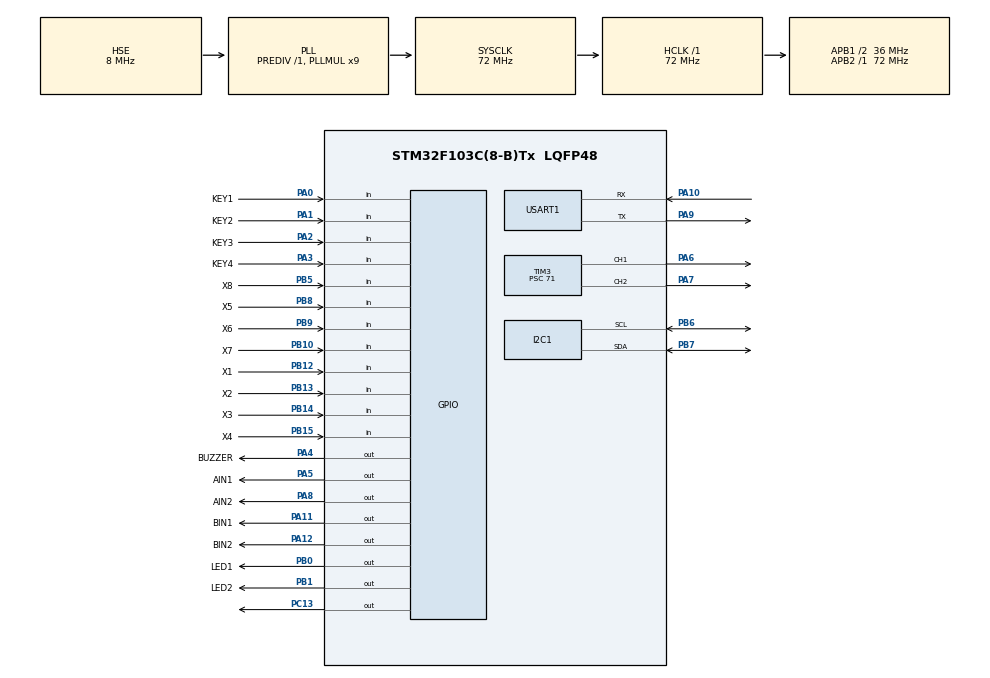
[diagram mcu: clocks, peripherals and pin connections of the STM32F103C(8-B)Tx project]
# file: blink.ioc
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Mcu.Family=STM32F1
Mcu.Name=STM32F103C(8-B)Tx
Mcu.Package=LQFP48
NVIC.PriorityGroup=NVIC_PRIORITYGROUP_4
PA0-WKUP.GPIO_Label=KEY1
PA0-WKUP.GPIO_PuPd=GPIO_PULLUP
PA0-WKUP.Signal=GPIO_Input
PA1.GPIO_Label=KEY2
PA1.GPIO_PuPd=GPIO_PULLUP
PA1.Signal=GPIO_Input
PA10.Mode=Asynchronous
PA10.Signal=USART1_RX
PA11.GPIO_Label=BIN1
PA11.GPIO_ModeDefaultOutputPP=GPIO_MODE_OUTPUT_PP
PA11.GPIO_Speed=GPIO_SPEED_FREQ_LOW
PA11.PinState=GPIO_PIN_RESET
PA11.Signal=GPIO_Output
PA12.GPIO_Label=BIN2
PA12.GPIO_ModeDefaultOutputPP=GPIO_MODE_OUTPUT_PP
PA12.GPIO_Speed=GPIO_SPEED_FREQ_LOW
PA12.PinState=GPIO_PIN_RESET
PA12.Signal=GPIO_Output
PA13.Mode=Serial_Wire
PA13.Signal=SYS_JTMS-SWDIO
PA14.Mode=Serial_Wire
PA14.Signal=SYS_JTCK-SWCLK
PA2.GPIO_Label=KEY3
PA2.GPIO_PuPd=GPIO_PULLUP
PA2.Signal=GPIO_Input
PA3.GPIO_Label=KEY4
PA3.GPIO_PuPd=GPIO_PULLUP
PA3.Signal=GPIO_Input
PA4.GPIO_Label=BUZZER
PA4.GPIO_ModeDefaultOutputPP=GPIO_MODE_OUTPUT_PP
PA4.GPIO_Speed=GPIO_SPEED_FREQ_LOW
PA4.PinState=GPIO_PIN_RESET
PA4.Signal=GPIO_Output
PA5.GPIO_Label=AIN1
PA5.GPIO_ModeDefaultOutputPP=GPIO_MODE_OUTPUT_PP
PA5.GPIO_Speed=GPIO_SPEED_FREQ_LOW
PA5.PinState=GPIO_PIN_RESET
PA5.Signal=GPIO_Output
PA6.Signal=S_TIM3_CH1
PA7.Signal=S_TIM3_CH2
PA8.GPIO_Label=AIN2
PA8.GPIO_ModeDefaultOutputPP=GPIO_MODE_OUTPUT_PP
PA8.GPIO_Speed=GPIO_SPEED_FREQ_LOW
PA8.PinState=GPIO_PIN_RESET
PA8.Signal=GPIO_Output
PA9.Mode=Asynchronous
PA9.Signal=USART1_TX
PB0.GPIO_Label=LED1
PB0.GPIO_ModeDefaultOutputPP=GPIO_MODE_OUTPUT_PP
PB0.GPIO_Speed=GPIO_SPEED_FREQ_LOW
PB0.PinState=GPIO_PIN_RESET
PB0.Signal=GPIO_Output
PB1.GPIO_Label=LED2
PB1.GPIO_ModeDefaultOutputPP=GPIO_MODE_OUTPUT_PP
PB1.GPIO_Speed=GPIO_SPEED_FREQ_LOW
PB1.PinState=GPIO_PIN_RESET
PB1.Signal=GPIO_Output
PB10.GPIO_Label=X7
PB10.Signal=GPIO_Input
PB12.GPIO_Label=X1
PB12.Signal=GPIO_Input
PB13.GPIO_Label=X2
PB13.Signal=GPIO_Input
PB14.GPIO_Label=X3
PB14.Signal=GPIO_Input
PB15.GPIO_Label=X4
PB15.Signal=GPIO_Input
PB5.GPIO_Label=X8
PB5.Signal=GPIO_Input
PB6.Mode=I2C
PB6.Signal=I2C1_SCL
PB7.Mode=I2C
PB7.Signal=I2C1_SDA
PB8.GPIO_Label=X5
PB8.Signal=GPIO_Input
PB9.GPIO_Label=X6
PB9.Signal=GPIO_Input
PC13-TAMPER-RTC.GPIO_ModeDefaultOutputPP=GPIO_MODE_OUTPUT_OD
PC13-TAMPER-RTC.GPIO_PuPd=GPIO_NOPULL
PC13-TAMPER-RTC.GPIO_Speed=GPIO_SPEED_FREQ_LOW
PC13-TAMPER-RTC.PinState=GPIO_PIN_SET
PC13-TAMPER-RTC.Signal=GPIO_Output
PD0-OSC_IN.Mode=HSE-External-Oscillator
PD0-OSC_IN.Signal=RCC_OSC_IN
PD1-OSC_OUT.Mode=HSE-External-Oscillator
PD1-OSC_OUT.Signal=RCC_OSC_OUT
ProjectManager.HeapSize=0x200
ProjectManager.StackSize=0x400
ProjectManager.TargetToolchain=MDK-ARM V5.32
RCC.AHBFreq_Value=72000000
RCC.APB1CLKDivider=RCC_HCLK_DIV2
RCC.APB1Freq_Value=36000000
RCC.APB1TimFreq_Value=72000000
RCC.APB2CLKDivider=RCC_HCLK_DIV1
RCC.APB2Freq_Value=72000000
RCC.APB2TimFreq_Value=72000000
RCC.HCLKFreq_Value=72000000
RCC.HSEDivPLL=RCC_HSE_PREDIV_DIV1
RCC.HSE_VALUE=8000000
RCC.PLLMUL=RCC_PLL_MUL9
RCC.PLLSourceVirtual=RCC_PLLSOURCE_HSE
RCC.SYSCLKFreq_VALUE=72000000
RCC.SYSCLKSource=RCC_SYSCLKSOURCE_PLLCLK
RCC.USBFreq_Value=72000000
SH.S_TIM3_CH1.0=TIM3_CH1,PWM Generation1 CH1
SH.S_TIM3_CH2.0=TIM3_CH2,PWM Generation2 CH2
TIM3.Channel-PWM\ Generation1\ CH1=TIM_CHANNEL_1
TIM3.Channel-PWM\ Generation2\ CH2=TIM_CHANNEL_2
TIM3.Period=999
TIM3.Prescaler=71
USART1.VirtualMode=VM_ASYNC
VP_TIM3_VS_ClockSourceINT.Mode=Internal
board=custom

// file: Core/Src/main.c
/* USER CODE BEGIN Header */
/**
  ******************************************************************************
  * @file           : main.c
  * @brief          : Main program body
  ******************************************************************************
  * @attention
  *
  * Copyright (c) 2026 STMicroelectronics.
  * All rights reserved.
  *
  * This software is licensed under terms that can be found in the LICENSE file
  * in the root directory of this software component.
  * If no LICENSE file comes with this software, it is provided AS-IS.
  *
  ******************************************************************************
  */
/* USER CODE END Header */
#include "main.h"

/* USER CODE BEGIN Includes */
#include "oled.h"
#include "key.h"
#include "menu.h"
#include "usart.h"
#include "remote.h"
/* USER CODE END Includes */

I2C_HandleTypeDef hi2c1;

TIM_HandleTypeDef htim3;

UART_HandleTypeDef huart1;

void SystemClock_Config(void);
static void MX_GPIO_Init(void);
static void MX_TIM3_Init(void);
static void MX_I2C1_Init(void);
static void MX_USART1_UART_Init(void);

int main(void)
{

  /* USER CODE BEGIN 1 */
  uint32_t hb_tick = 0;      /* 板载灯心跳计时 */
  /* USER CODE END 1 */

  /* MCU Configuration--------------------------------------------------------*/

  /* Reset of all peripherals, Initializes the Flash interface and the Systick. */
  HAL_Init();

  /* Configure the system clock */
  SystemClock_Config();

  /* Initialize all configured peripherals */
  MX_GPIO_Init();
  MX_TIM3_Init();
  MX_I2C1_Init();
  MX_USART1_UART_Init();
  /* USER CODE BEGIN 2 */
  OLED_Init();
  OLED_Fill(0xFF);                      /* 自检：全屏点亮 0.3 秒 */
  OLED_Update();
  HAL_Delay(300);
  OLED_Clear();
  OLED_ShowString(22, 2, "DEBUG LINE CAR");
  OLED_ShowString(40, 4, "MENU TEST");
  OLED_Update();
  HAL_Delay(600);

  Menu_Init();                          /* 显示主菜单，箭头默认指首行 */

  Usart_Init();                         /* 打开 USART1 接收中断（CH340 / 蓝牙） */
  /* USER CODE END 2 */

  /* Infinite loop */
  /* USER CODE BEGIN WHILE */
  while (1)
  {
    /* 菜单 + 按键：内部 10ms 调度，不阻塞 */
    Menu_Task();

    /* 串口命令：收到一整行就解析执行，不阻塞 */
    Usart_Task();

    /* 遥控超时保护：蓝牙掉线自动停车 */
    Remote_Task();

    /* 板载绿灯心跳：闪=程序活着（非阻塞，500ms 翻转） */
    if ((HAL_GetTick() - hb_tick) >= 500u)
    {
      hb_tick = HAL_GetTick();
      HAL_GPIO_TogglePin(GPIOC, GPIO_PIN_13);
    }
    /* USER CODE END WHILE */

  }
}

void SystemClock_Config(void)
{
  RCC_OscInitTypeDef RCC_OscInitStruct = {0};
  RCC_ClkInitTypeDef RCC_ClkInitStruct = {0};

  /** Initializes the RCC Oscillators according to the specified parameters
  * in the RCC_OscInitTypeDef structure.
  */
  RCC_OscInitStruct.OscillatorType = RCC_OSCILLATORTYPE_HSE;
  RCC_OscInitStruct.HSEState = RCC_HSE_ON;
  RCC_OscInitStruct.HSEPredivValue = RCC_HSE_PREDIV_DIV1;
  RCC_OscInitStruct.HSIState = RCC_HSI_ON;
  RCC_OscInitStruct.PLL.PLLState = RCC_PLL_ON;
  RCC_OscInitStruct.PLL.PLLSource = RCC_PLLSOURCE_HSE;
  RCC_OscInitStruct.PLL.PLLMUL = RCC_PLL_MUL9;
  if (HAL_RCC_OscConfig(&RCC_OscInitStruct) != HAL_OK)
  {
    Error_Handler();
  }

  /** Initializes the CPU, AHB and APB buses clocks
  */
  RCC_ClkInitStruct.ClockType = RCC_CLOCKTYPE_HCLK|RCC_CLOCKTYPE_SYSCLK
                              |RCC_CLOCKTYPE_PCLK1|RCC_CLOCKTYPE_PCLK2;
  RCC_ClkInitStruct.SYSCLKSource = RCC_SYSCLKSOURCE_PLLCLK;
  RCC_ClkInitStruct.AHBCLKDivider = RCC_SYSCLK_DIV1;
  RCC_ClkInitStruct.APB1CLKDivider = RCC_HCLK_DIV2;
  RCC_ClkInitStruct.APB2CLKDivider = RCC_HCLK_DIV1;

  if (HAL_RCC_ClockConfig(&RCC_ClkInitStruct, FLASH_LATENCY_2) != HAL_OK)
  {
    Error_Handler();
  }
}

static void MX_I2C1_Init(void)
{

  hi2c1.Instance = I2C1;
  hi2c1.Init.ClockSpeed = 100000;
  hi2c1.Init.DutyCycle = I2C_DUTYCYCLE_2;
  hi2c1.Init.OwnAddress1 = 0;
  hi2c1.Init.AddressingMode = I2C_ADDRESSINGMODE_7BIT;
  hi2c1.Init.DualAddressMode = I2C_DUALADDRESS_DISABLE;
  hi2c1.Init.OwnAddress2 = 0;
  hi2c1.Init.GeneralCallMode = I2C_GENERALCALL_DISABLE;
  hi2c1.Init.NoStretchMode = I2C_NOSTRETCH_DISABLE;
  if (HAL_I2C_Init(&hi2c1) != HAL_OK)
  {
    Error_Handler();
  }

}

static void MX_TIM3_Init(void)
{

  TIM_ClockConfigTypeDef sClockSourceConfig = {0};
  TIM_MasterConfigTypeDef sMasterConfig = {0};
  TIM_OC_InitTypeDef sConfigOC = {0};

  htim3.Instance = TIM3;
  htim3.Init.Prescaler = 71;
  htim3.Init.CounterMode = TIM_COUNTERMODE_UP;
  htim3.Init.Period = 999;
  htim3.Init.ClockDivision = TIM_CLOCKDIVISION_DIV1;
  htim3.Init.AutoReloadPreload = TIM_AUTORELOAD_PRELOAD_DISABLE;
  if (HAL_TIM_Base_Init(&htim3) != HAL_OK)
  {
    Error_Handler();
  }
  sClockSourceConfig.ClockSource = TIM_CLOCKSOURCE_INTERNAL;
  if (HAL_TIM_ConfigClockSource(&htim3, &sClockSourceConfig) != HAL_OK)
  {
    Error_Handler();
  }
  if (HAL_TIM_PWM_Init(&htim3) != HAL_OK)
  {
    Error_Handler();
  }
  sMasterConfig.MasterOutputTrigger = TIM_TRGO_RESET;
  sMasterConfig.MasterSlaveMode = TIM_MASTERSLAVEMODE_DISABLE;
  if (HAL_TIMEx_MasterConfigSynchronization(&htim3, &sMasterConfig) != HAL_OK)
  {
    Error_Handler();
  }
  sConfigOC.OCMode = TIM_OCMODE_PWM1;
  sConfigOC.Pulse = 0;
  sConfigOC.OCPolarity = TIM_OCPOLARITY_HIGH;
  sConfigOC.OCFastMode = TIM_OCFAST_DISABLE;
  if (HAL_TIM_PWM_ConfigChannel(&htim3, &sConfigOC, TIM_CHANNEL_1) != HAL_OK)
  {
    Error_Handler();
  }
  if (HAL_TIM_PWM_ConfigChannel(&htim3, &sConfigOC, TIM_CHANNEL_2) != HAL_OK)
  {
    Error_Handler();
  }
  HAL_TIM_MspPostInit(&htim3);

}

static void MX_USART1_UART_Init(void)
{

  huart1.Instance = USART1;
  huart1.Init.BaudRate = 38400;  /* HC-05 实测为 38400（不是常见的 9600），CH340 也用这个 */
  huart1.Init.WordLength = UART_WORDLENGTH_8B;
  huart1.Init.StopBits = UART_STOPBITS_1;
  huart1.Init.Parity = UART_PARITY_NONE;
  huart1.Init.Mode = UART_MODE_TX_RX;
  huart1.Init.HwFlowCtl = UART_HWCONTROL_NONE;
  huart1.Init.OverSampling = UART_OVERSAMPLING_16;
  if (HAL_UART_Init(&huart1) != HAL_OK)
  {
    Error_Handler();
  }

}

static void MX_GPIO_Init(void)
{
  GPIO_InitTypeDef GPIO_InitStruct = {0};

  /* GPIO Ports Clock Enable */
  __HAL_RCC_GPIOC_CLK_ENABLE();
  __HAL_RCC_GPIOD_CLK_ENABLE();
  __HAL_RCC_GPIOA_CLK_ENABLE();
  __HAL_RCC_GPIOB_CLK_ENABLE();

  /*Configure GPIO pin Output Level */
  HAL_GPIO_WritePin(GPIOC, GPIO_PIN_13, GPIO_PIN_SET);

  /*Configure GPIO pin Output Level */
  HAL_GPIO_WritePin(GPIOA, BUZZER_Pin|AIN1_Pin|AIN2_Pin|BIN1_Pin
                          |BIN2_Pin, GPIO_PIN_RESET);

  /*Configure GPIO pin Output Level */
  HAL_GPIO_WritePin(GPIOB, LED1_Pin|LED2_Pin, GPIO_PIN_RESET);

  /*Configure GPIO pin : PC13 */
  GPIO_InitStruct.Pin = GPIO_PIN_13;
  GPIO_InitStruct.Mode = GPIO_MODE_OUTPUT_OD;
  GPIO_InitStruct.Pull = GPIO_NOPULL;
  GPIO_InitStruct.Speed = GPIO_SPEED_FREQ_LOW;
  HAL_GPIO_Init(GPIOC, &GPIO_InitStruct);

  /*Configure GPIO pins : KEY1_Pin KEY2_Pin KEY3_Pin KEY4_Pin */
  GPIO_InitStruct.Pin = KEY1_Pin|KEY2_Pin|KEY3_Pin|KEY4_Pin;
  GPIO_InitStruct.Mode = GPIO_MODE_INPUT;
  GPIO_InitStruct.Pull = GPIO_PULLUP;
  HAL_GPIO_Init(GPIOA, &GPIO_InitStruct);

  /*Configure GPIO pins : BUZZER_Pin AIN1_Pin AIN2_Pin BIN1_Pin
                           BIN2_Pin */
  GPIO_InitStruct.Pin = BUZZER_Pin|AIN1_Pin|AIN2_Pin|BIN1_Pin
                          |BIN2_Pin;
  GPIO_InitStruct.Mode = GPIO_MODE_OUTPUT_PP;
  GPIO_InitStruct.Pull = GPIO_NOPULL;
  GPIO_InitStruct.Speed = GPIO_SPEED_FREQ_LOW;
  HAL_GPIO_Init(GPIOA, &GPIO_InitStruct);

  /*Configure GPIO pins : LED1_Pin LED2_Pin */
  GPIO_InitStruct.Pin = LED1_Pin|LED2_Pin;
  GPIO_InitStruct.Mode = GPIO_MODE_OUTPUT_PP;
  GPIO_InitStruct.Pull = GPIO_NOPULL;
  GPIO_InitStruct.Speed = GPIO_SPEED_FREQ_LOW;
  HAL_GPIO_Init(GPIOB, &GPIO_InitStruct);

  /*Configure GPIO pins : X7_Pin X1_Pin X2_Pin X3_Pin
                           X4_Pin X8_Pin X5_Pin X6_Pin */
  GPIO_InitStruct.Pin = X7_Pin|X1_Pin|X2_Pin|X3_Pin
                          |X4_Pin|X8_Pin|X5_Pin|X6_Pin;
  GPIO_InitStruct.Mode = GPIO_MODE_INPUT;
  GPIO_InitStruct.Pull = GPIO_NOPULL;
  HAL_GPIO_Init(GPIOB, &GPIO_InitStruct);

}

void Error_Handler(void)
{
  __disable_irq();
  while (1)
  {
  }
}
